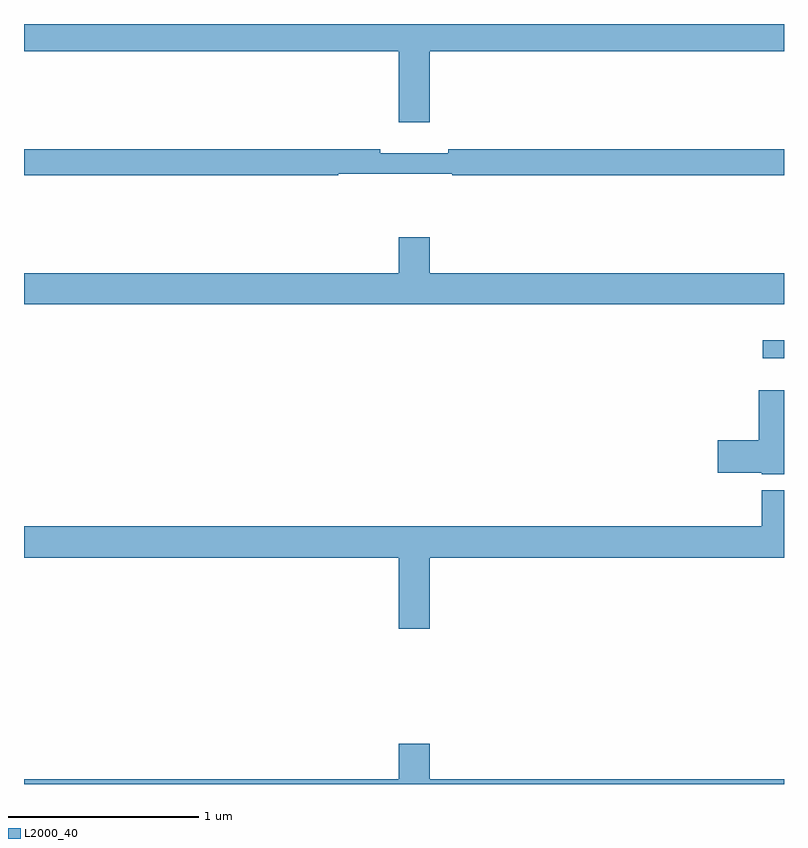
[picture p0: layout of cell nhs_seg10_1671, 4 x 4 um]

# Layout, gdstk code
import gdstk
lib = gdstk.Library(unit=1e-6, precision=1e-09)
def R(c, l, rs):  # rectangles x0, y0, x1, y1
    for r in rs: c.add(gdstk.rectangle(r[:2], r[2:], *l))
def P(c, l, *ps):  # polygons
    for p in ps: c.add(gdstk.Polygon(p, *l))
L2000_40 = (2000, 40)

nhs_seg10_1671 = lib.new_cell('nhs_seg10_1671')
R(nhs_seg10_1671, L2000_40, [(202.887,1258.74,203,1258.836)])
P(nhs_seg10_1671, L2000_40, [(201.136,1260.356),(203,1260.356),(203,1260.5),(199,1260.5),(199,1260.356),(200.972,1260.356),(200.972,1259.982),(201.136,1259.982)],
  [(200.655,1259.712),(201.255,1259.712),(201.255,1259.704),(203,1259.704),(203,1259.84),(201.232,1259.84),(201.232,1259.821),(200.876,1259.821),(200.876,1259.84),(199,1259.84),(199,1259.704),(200.655,1259.704)],
  [(203,1259.188),(201.136,1259.188),(201.136,1259.377),(200.972,1259.377),(200.972,1259.188),(199,1259.188),(199,1259.024),(203,1259.024)],
  [(203,1258.573),(202.868,1258.573),(202.868,1258.31),(202.65,1258.31),(202.65,1258.139),(202.884,1258.139),(202.884,1258.13),(203,1258.13)],
  [(201.136,1257.692),(203,1257.692),(203,1258.045),(202.883,1258.045),(202.883,1257.856),(199,1257.856),(199,1257.692),(200.972,1257.692),(200.972,1257.318),(201.136,1257.318)],
  [(203,1256.524),(201.136,1256.524),(201.136,1256.713),(200.972,1256.713),(200.972,1256.524),(199,1256.524),(199,1256.5),(203,1256.5)])

lib.write_gds('nhs_seg10_1671.gds')
